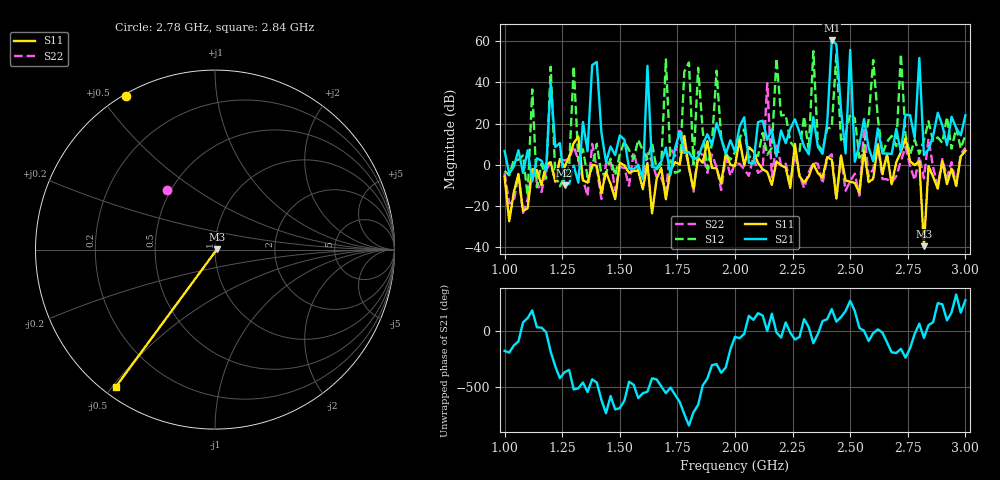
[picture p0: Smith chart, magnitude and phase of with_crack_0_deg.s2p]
# MHz S MA R 50
!  freq  S11  S21  S12  S22
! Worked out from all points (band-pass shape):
!   101 points, 1 GHz to 3 GHz, reference 50 ohm
!   highest |S21| = 60.36 dB at 2.42 GHz (marker M1); lowest = -9.8 dB at 1.26 GHz (marker M2)
!   |S21| within 3 dB of the highest: 2.419 GHz to 2.441 GHz (22.18 MHz wide, 0.913 % of centre)
!   lowest |S11| = -39.4 dB at 2.82 GHz (marker M3), VSWR 1.02, Z = 51.1 + j0.132 ohm
!   |S11| at or under -10 dB: 1.004 GHz to 1.047 GHz (43.3 MHz wide, 4.22 % of centre); 1.066 GHz to 1.112 GHz (45.45 MHz wide, 4.17 % of centre); 1.415 GHz to 1.427 GHz (12.6 MHz wide, 0.887 % of centre) (the widest 3 of 14)
!   |S22| runs from -23.3 to 39.5 dB; largest |S21 - S12| = 1e+03
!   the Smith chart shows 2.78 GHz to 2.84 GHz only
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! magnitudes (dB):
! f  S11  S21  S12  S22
! 1 GHz  -5.6  6.8  -2.9  -4.0
! 1.18 GHz  0.4  -3.0  -6.7  -2.5
! 1.2 GHz  1.3  39.9  47.6  1.2
! 1.26 GHz  -1.1  -9.8  -5.8  2.2
! 1.3 GHz  10.5  -0.3  47.9  9.0
! 1.34 GHz  -7.5  20.8  7.6  -6.9
! 1.62 GHz  0.9  48.1  2.8  5.5
! 1.68 GHz  -1.5  1.6  0.3  -6.1
! 1.7 GHz  -16.6  8.4  51.2  -12.9
! 1.74 GHz  1.4  8.3  -3.8  4.3
! 1.8 GHz  -1.5  6.2  49.7  -0.3
! 1.82 GHz  -11.5  2.7  0.2  -13.0
! 1.84 GHz  3.5  3.8  47.1  6.3
! 2 GHz  -0.5  6.4  6.1  0.8
! 2.18 GHz  1.7  4.2  51.6  10.5
! 2.32 GHz  -5.6  5.2  6.9  -3.6
! 2.34 GHz  0.5  23.2  55.1  1.2
! 2.42 GHz  2.5  60.4  18.2  5.1
! 2.68 GHz  -9.4  5.3  14.1  -8.5
! 2.8 GHz  1.8  51.9  5.4  4.1
! 2.82 GHz  -39.4  4.8  12.0  -6.5
! 3 GHz  6.9  24.0  14.5  8.3
